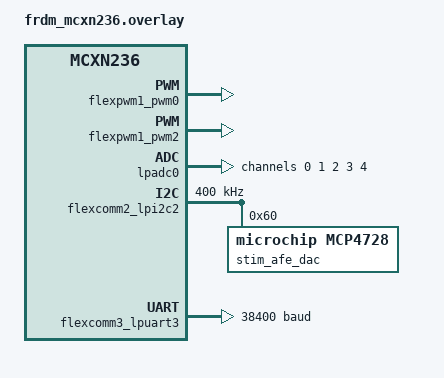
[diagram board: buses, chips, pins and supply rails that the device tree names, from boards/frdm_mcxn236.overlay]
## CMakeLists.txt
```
# SPDX-License-Identifier: Apache-2.0
cmake_minimum_required(VERSION 3.20.0)
find_package(Zephyr REQUIRED HINTS $ENV{ZEPHYR_BASE})
project(hil_stimulus)
target_sources(app PRIVATE src/main.c src/stim_cmds.c)
```

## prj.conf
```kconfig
# SPDX-License-Identifier: Apache-2.0
# apps/hil_stimulus: HIL stimulus firmware, Zephyr v4.4.2, nucleo_f767zi.
# Machine interface = Zephyr shell on the ST-LINK VCP (USART3, 115200 8N1).

# --- shell as a line protocol ---------------------------------------------
CONFIG_SHELL=y
CONFIG_SHELL_BACKEND_SERIAL=y
CONFIG_SHELL_PROMPT_UART="stim:~$ "
CONFIG_SHELL_VT100_COLORS=n
# one "stim rs485 load <slot> <off> <400 hex chars>" line is ~430 bytes
CONFIG_SHELL_CMD_BUFF_SIZE=512
CONFIG_SHELL_ARGC_MAX=24
# a whole max-length line fits the RX ring even if the shell thread is busy
CONFIG_SHELL_BACKEND_SERIAL_RX_RING_BUFFER_SIZE=1024
CONFIG_SHELL_BACKEND_SERIAL_TX_RING_BUFFER_SIZE=256
CONFIG_SHELL_PRINTF_BUFF_SIZE=128
CONFIG_SHELL_STACK_SIZE=4096
# '*' and '?' are never command wildcards here
CONFIG_SHELL_WILDCARD=n
CONFIG_SHELL_HISTORY=n
# keep echo on: metakeys (Ctrl-C clears a partial line, used by the host resync) need it
CONFIG_KERNEL_SHELL=y
CONFIG_DEVICE_SHELL=y
CONFIG_REBOOT=y

# --- logging: warnings only, through the shell log backend -----------------
CONFIG_LOG=y
CONFIG_LOG_DEFAULT_LEVEL=2

# --- C library: picolibc (the errno BUILD_ASSERT in stim_cmds.c pins its numbering) ---
CONFIG_PICOLIBC=y

# --- drivers ---------------------------------------------------------------
CONFIG_GPIO=y
CONFIG_ADC=y
CONFIG_DAC=y
CONFIG_PWM=y
CONFIG_PWM_CAPTURE=y
CONFIG_I2C=y
CONFIG_SERIAL=y
CONFIG_UART_INTERRUPT_DRIVEN=y
CONFIG_UART_USE_RUNTIME_CONFIGURE=y
CONFIG_HWINFO=y
CONFIG_WATCHDOG=y
CONFIG_CRC=y
# gpio-keys (B1/PC13) must not claim EXTI13
CONFIG_INPUT=n

# built-in driver shells for humans only (tests use "stim ...")
CONFIG_GPIO_SHELL=y
CONFIG_DAC_SHELL=y
CONFIG_PWM_SHELL=y
CONFIG_I2C_SHELL=y

# VDDA from VREFINT (st,stm32-vref) to scale DAC codes and ADC readings
CONFIG_SENSOR=y
```

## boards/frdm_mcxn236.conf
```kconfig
# SPDX-License-Identifier: Apache-2.0
# apps/hil_stimulus on FRDM-MCXN236 (merged after prj.conf).
# Machine interface: LP_FLEXCOMM4 LPUART4 (P1_8/P1_9) through the MCU-Link VCOM, 115200 8N1.
# Cycle counter: 64-bit SysTick at 150 MHz (SoC default: MCUX_OS_TIMER=n).

# No VREFINT sensor on MCX: VDDA is taken as 3300 mV (the LPADC reference is VDDA).
CONFIG_SENSOR=n
```

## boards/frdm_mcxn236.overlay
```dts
/*
 * SPDX-License-Identifier: Apache-2.0
 *
 * apps/hil_stimulus on FRDM-MCXN236 (stimulus) for an FRDM-MCXN947 DUT
 * (profile P1, DUT catalog of BACnet e62a095 = main, unchanged at 4ee098e),
 * Zephyr v4.4.2.
 *
 * Wiring: one Arduino-R3 proto shield per board plus a 40-way IDC ribbon.
 * Positions are wired straight (same Arduino position on both boards) except
 * for the reroutes marked REROUTE. Every DUT-facing line has one 2.2 kOhm
 * series resistor, mounted on the DUT shield; the DUT side of it is the probe
 * point (LA, analog node). Analog senses add 10 kOhm at this stimulus input.
 * Header facts: UM12041 Rev 3 Tables 19-22, 25.
 *
 * Never connect on the stimulus shield:
 *   D4  (P0_21) = FXLS8974 INT1          A1 (P4_15) = CAN1 RXD (TJA1057 drives it)
 *   A2  (P4_16) = CAN1 TXD               A3 (P4_17) = blue LED
 *   D5  (P2_7)  = same pin as J3-13 (ao1 capture); the DUT's D5 is ENET MDIO
 *   J3-15 (P3_12) = same pin as D3 (ao2 capture)
 *   J1-3 (P2_0 via SJ3) = same pin as D2; J1-1 (P3_16) = same pin as J3-7
 *   inner-row duplicates of used channels: J1-11 and J3-5 (P3_17 = D6, do2),
 *   J2-9 (P0_22 = D7, do3), J3-1 (P4_13 = A5, di0), J3-11 (P3_14 = D9, do0)
 *   mikroBUS J5-7 (P5V0, 5 V): the MCP4728 takes VDD from J6-7 (VDD_BOARD)
 *   RESET, AREF, IOREF, 3V3; the 5V (J3-10) and VIN (J3-16) stacking pins are
 *   clipped on the shield
 * D10..D13 (P1_3..P1_0) are also wired to the MCU-Link USB-SPI bridge through
 * R153..R156 (populated by default, UM12041 3.9). The bridge's SCK, host data
 * and PCS0 are MCU-Link outputs on m1, m0 and do1, so R153..R156 are removed
 * before the W2 wiring (the stimulus never uses USBSIO; recorded in bench.yml).
 * D3 (P3_12, ao2) is shared with IO3 of the on-board QSPI flash U12 through a
 * zero-ohm selection (UM12041 2.6): W2 checks the low level at P3_12 < 0.8 V
 * with the DUT driving low; otherwise U12 is isolated.
 *
 * Interrupt inputs: GPIO ICR per pin (kinetis-gpio), so unlike the STM32 EXTI
 * there is no line sharing between ports; the protocol rule "ao is never armed"
 * is kept as policy.
 *
 * AFE: MCP4728 (0x60, LDAC to GND) on LP_FLEXCOMM2 LPI2C (P4_0 SDA =
 * mikroBUS J5-6, P4_1 SCL = J5-5, GND J5-8; board pull-ups; FXLS8974 at 0x18
 * shares the bus). VDD = 3.3 V from J6-7 (VDD_BOARD), never J5-7 (P5V0); any
 * module I2C pull-ups go to that 3.3 V or are removed. Internal 2.048 V
 * reference, gain 2: 0..4.096 V full scale, 1.0 mV LSB, output limited to the
 * stimulus VDD (range-mv caps it at 3200).
 *
 * di channels have no drive-high property: they are 0/z only (D40); the
 * firmware refuses level 1 with ERR -1.
 */

#include <zephyr/dt-bindings/adc/adc.h>
#include <zephyr/dt-bindings/adc/mcux-lpadc.h>
#include <zephyr/dt-bindings/gpio/gpio.h>
#include <zephyr/dt-bindings/i2c/i2c.h>
#include <zephyr/dt-bindings/pwm/pwm.h>

/ {
	stim: hil-stim {
		compatible = "hil,stim-channels";
		profile = "P1";
		rs485-uart = <&flexcomm3_lpuart3>;	/* It2 MS/TP injector, camera header J9 */

		/* ---- stimulus -> DUT digital inputs (catalog di*); di1 = SW3/ISP is never wired ---- */
		di0 {
			kind = "di";
			gpios = <&gpio4 13 GPIO_ACTIVE_HIGH>;
			stim-pin = "P4_13 J4-12 A5";
			dut-pin = "P0_23 J4-12 A5 (SW2 + 0.1 uF, pull-up, active low)";
		};
		di2 {
			kind = "di";
			gpios = <&gpio2 0 GPIO_ACTIVE_HIGH>;
			stim-pin = "P2_0 J1-6 D2";
			dut-pin = "P0_29 J1-6 D2 (pull-up, active low)";
		};
		di3 {
			kind = "di";	/* REROUTE: stimulus D4 = accelerometer INT1 */
			gpios = <&gpio4 21 GPIO_ACTIVE_HIGH>;
			stim-pin = "P4_21 J3-3";
			dut-pin = "P0_30 J1-10 D4 (pull-up, active low)";
		};

		/* ---- DUT digital outputs (catalog do*) -> stimulus inputs ---- */
		do0 {
			kind = "do";
			gpios = <&gpio3 14 (GPIO_ACTIVE_HIGH | GPIO_PULL_DOWN)>;
			stim-pin = "P3_14 J2-4 D9";
			dut-pin = "P0_10 J2-4 D9 (red LED, active low)";
		};
		do1 {
			kind = "do";
			gpios = <&gpio1 3 (GPIO_ACTIVE_HIGH | GPIO_PULL_DOWN)>;
			stim-pin = "P1_3 J2-6 D10";
			dut-pin = "P0_27 J2-6 D10 (green LED, active low)";
		};
		do2 {
			kind = "do";
			gpios = <&gpio3 17 (GPIO_ACTIVE_HIGH | GPIO_PULL_DOWN)>;
			stim-pin = "P3_17 J1-14 D6";
			dut-pin = "P1_2 J1-14 D6 (blue LED, active low)";
		};
		do3 {
			kind = "do";
			gpios = <&gpio0 22 (GPIO_ACTIVE_HIGH | GPIO_PULL_DOWN)>;
			stim-pin = "P0_22 J1-16 D7";
			dut-pin = "P0_31 J1-16 D7";
		};
		do4 {
			kind = "do";
			gpios = <&gpio0 23 (GPIO_ACTIVE_HIGH | GPIO_PULL_DOWN)>;
			stim-pin = "P0_23 J2-2 D8";
			dut-pin = "P0_28 J2-2 D8";
		};

		/* ---- DUT analog inputs (catalog ai*, 0..1.8 V): MCP4728 source + LPADC sense ---- */
		ai0 {
			kind = "ai";	/* REROUTE: stimulus A2 = CAN TXD */
			io-channels = <&stim_afe_dac 0>, <&lpadc0 0>;
			io-channel-names = "src", "sense";
			range-mv = <0 3200>;
			stim-pin = "src MCP4728 A, sense P0_26 J2-7 (ADC0_B18)";
			dut-pin = "P0_14 J4-6 A2 (ADC0_B14)";
		};
		ai1 {
			kind = "ai";	/* REROUTE: stimulus A3 = blue LED */
			io-channels = <&stim_afe_dac 1>, <&lpadc0 1>;
			io-channel-names = "src", "sense";
			range-mv = <0 3200>;
			stim-pin = "src MCP4728 B, sense P0_28 J2-3 (ADC0_B20)";
			dut-pin = "P0_22 J4-8 A3 (ADC0_A14)";
		};
		ai2 {
			kind = "ai";
			io-channels = <&stim_afe_dac 2>, <&lpadc0 2>;
			io-channel-names = "src", "sense";
			range-mv = <0 3200>;
			stim-pin = "src MCP4728 C, sense P4_12 J4-10 A4 (ADC0_A5)";
			dut-pin = "P0_15 J4-10 A4 (ADC0_B15)";
		};

		/* ---- DUT PWM outputs (catalog ao*) -> FlexPWM1 input capture ---- */
		ao0 {
			kind = "ao";	/* REROUTE: pigtail J3-15 (DUT) -> J3-7 (stimulus) */
			pwms = <&flexpwm1_pwm2 0 PWM_MSEC(1) PWM_POLARITY_NORMAL>;
			gpios = <&gpio3 16 GPIO_ACTIVE_HIGH>;	/* level read for 0 %/100 % */
			stim-pin = "P3_16 J3-7 (PWM1_A2)";
			dut-pin = "P2_6 J3-15 (PWM1_A0)";
		};
		ao1 {
			kind = "ao";	/* inner row straight: J3-13 -> J3-13 */
			pwms = <&flexpwm1_pwm0 1 PWM_MSEC(1) PWM_POLARITY_NORMAL>;
			gpios = <&gpio2 7 GPIO_ACTIVE_HIGH>;
			stim-pin = "P2_7 J3-13 (PWM1_B0; also D5, never wired)";
			dut-pin = "P2_7 J3-13 (PWM1_B0)";
		};
		ao2 {
			kind = "ao";
			pwms = <&flexpwm1_pwm0 0 PWM_MSEC(1) PWM_POLARITY_NORMAL>;
			gpios = <&gpio3 12 GPIO_ACTIVE_HIGH>;
			stim-pin = "P3_12 J1-8 D3 (PWM1_A0)";
			dut-pin = "P1_23 J1-8 D3 (SCT0_OUT5)";
		};

		/* ---- DUT MS/TP UART (planned: LPUART2 D1/D0, software DE on D11), read only ---- */
		mstp_rx {
			/* transceiver RO -> DUT RX; never driven here. No pull (v2.2 lead):
			 * a stimulus pull-down against the DUT pad pull-up would hold D0
			 * near mid-rail (a permanent break) whenever RO is not driving.
			 */
			kind = "marker";
			gpios = <&gpio4 3 GPIO_ACTIVE_HIGH>;
			stim-pin = "P4_3 J1-2 D0";
			dut-pin = "P4_3 J1-2 D0 (LPUART2 RXD)";
		};
		mstp_tx {
			kind = "marker";
			gpios = <&gpio4 2 (GPIO_ACTIVE_HIGH | GPIO_PULL_DOWN)>;
			stim-pin = "P4_2 J1-4 D1";
			dut-pin = "P4_2 J1-4 D1 (LPUART2 TXD)";
		};
		mstp_de {
			kind = "marker";	/* 10k pull-down on the DE net */
			gpios = <&gpio1 0 (GPIO_ACTIVE_HIGH | GPIO_PULL_DOWN)>;
			stim-pin = "P1_0 J2-8 D11";
			dut-pin = "P0_24 J2-8 D11 (mstp-de-gpios)";
		};

		/* ---- DUT markers (snippet hil: hil-marker-gpios) ---- */
		m0 {
			kind = "marker";
			gpios = <&gpio1 2 (GPIO_ACTIVE_HIGH | GPIO_PULL_DOWN)>;
			stim-pin = "P1_2 J2-10 D12";
			dut-pin = "P0_26 J2-10 D12";
		};
		m1 {
			kind = "marker";
			gpios = <&gpio1 1 (GPIO_ACTIVE_HIGH | GPIO_PULL_DOWN)>;
			stim-pin = "P1_1 J2-12 D13";
			dut-pin = "P0_25 J2-12 D13";
		};
		m2 {
			kind = "marker";
			gpios = <&gpio1 16 (GPIO_ACTIVE_HIGH | GPIO_PULL_DOWN)>;
			stim-pin = "P1_16 J2-18 SDA";
			dut-pin = "P4_0 J2-18 SDA";
		};
		m3 {
			kind = "marker";
			gpios = <&gpio1 17 (GPIO_ACTIVE_HIGH | GPIO_PULL_DOWN)>;
			stim-pin = "P1_17 J2-20 SCL";
			dut-pin = "P4_1 J2-20 SCL";
		};

		/* ---- rig channels (stimulus FRDM inner rows, free pins) ---- */
		nrst {
			kind = "nrst";	/* 1 = BSS138P on = DUT RESET_B low; 100k gate pull-down */
			gpios = <&gpio2 8 GPIO_ACTIVE_HIGH>;
			stim-pin = "P2_8 J1-5";
			dut-pin = "RESET_B J3-6 via 100R + BSS138P (Q2)";
		};
		nrst_sense {
			/*
			 * Gate-sense inverter Q3 (BSS138P on the DUT shield): gate on RESET_B
			 * through 1k, source GND, drain -> ribbon -> 10k pull-up to the
			 * stimulus VDD_BOARD -> this pin. RESET_B low = Q3 off = pin high.
			 * RESET_B sees only the FET gate, so an unpowered stimulus cannot
			 * pull it into the undefined band. No internal pull.
			 */
			kind = "nrst-sense";	/* 1 = DUT in reset (pin high) */
			gpios = <&gpio3 6 GPIO_ACTIVE_HIGH>;
			stim-pin = "P3_6 J1-7 (10k pull-up to VDD_BOARD)";
			dut-pin = "RESET_B J3-6 via 1k + BSS138P gate (Q3)";
		};
		pwr {
			kind = "pwr";	/* logical 1 = DUT powered = P3_18 low (BSS138P off, ON pulled up) */
			gpios = <&gpio3 18 GPIO_ACTIVE_LOW>;
			stim-pin = "P3_18 J1-9";
			dut-pin = "TPS22918 ON via BSS138P Q1 (PWR_CTL) -> DUT J24 P3V3_MCU";
		};
		sync {
			kind = "sync";
			gpios = <&gpio1 7 GPIO_ACTIVE_HIGH>;
			stim-pin = "P1_7 J1-13";
			dut-pin = "LA SYNC channel (100R)";
		};
		lb {
			kind = "marker";	/* self-test loopback: jumper SYNC (J1-13) -> J1-15 */
			gpios = <&gpio2 9 (GPIO_ACTIVE_HIGH | GPIO_PULL_DOWN)>;
			stim-pin = "P2_9 J1-15";
		};
		v3v3 {
			kind = "sense";	/* DUT MCU rail (switched P3V3_MCU = VDD_ANA at AREF) via 100k/100k, 100 nF */
			io-channels = <&lpadc0 3>;
			io-channel-names = "sense";
			scale = <2 1>;
			stim-pin = "P0_29 J2-1 (ADC0_B21)";
			dut-pin = "VDD_ANA J2-16 AREF";
		};
		v3v3_brd {
			kind = "sense";	/* DUT board rail P3V3 (always on) via 100k/100k, 100 nF */
			io-channels = <&lpadc0 4>;
			io-channel-names = "sense";
			scale = <2 1>;
			stim-pin = "P0_27 J2-5 (ADC0_B19)";
			dut-pin = "P3V3 J3-8 3V3";
		};
	};
};

&pinctrl {
	/* FlexPWM1 capture inputs: input buffer on, pull-down so an unpowered DUT reads 0. */
	stim_cap_sm0: stim_cap_sm0 {
		group0 {
			pinmux = <PWM1_A0_PIO3_12>, <PWM1_B0_PIO2_7>;
			input-enable;
			bias-pull-down;
			drive-strength = "low";
			slew-rate = "fast";
		};
	};

	stim_cap_sm2: stim_cap_sm2 {
		group0 {
			pinmux = <PWM1_A2_PIO3_16>;
			input-enable;
			bias-pull-down;
			drive-strength = "low";
			slew-rate = "fast";
		};
	};

	/*
	 * MS/TP injector (It2): LP_FLEXCOMM3 in LPUART-only mode on camera header J9
	 * (UM12041 Table 26): P1_12 J9-28 = FC3_P0 RXD, P1_13 J9-27 = FC3_P1 TXD,
	 * P1_14 J9-2 = FC3_P2 = RTS used as hardware DE (MODIR.TXRTSE, active high).
	 * Transceiver: DE 10k pull-down, /RE to GND (hears its own frames), RO 10k pull-up.
	 */
	stim_fc3_uart: stim_fc3_uart {
		group0 {
			pinmux = <FC3_P0_PIO1_12>, <FC3_P1_PIO1_13>;
			input-enable;
			drive-strength = "low";
			slew-rate = "fast";
		};
	};

	stim_fc3_uart_de: stim_fc3_uart_de {
		group0 {
			pinmux = <FC3_P0_PIO1_12>, <FC3_P1_PIO1_13>, <FC3_P2_PIO1_14>;
			input-enable;
			drive-strength = "low";
			slew-rate = "fast";
		};
	};

	/* LPADC0 senses: ai0 P0_26 B18, ai1 P0_28 B20, ai2 P4_12 A5, v3v3 P0_29 B21, v3v3_brd P0_27 B19 */
	stim_adc0: stim_adc0 {
		group0 {
			pinmux = <ADC0_B18_PIO0_26>, <ADC0_B20_PIO0_28>, <ADC0_A5_PIO4_12>,
				 <ADC0_B21_PIO0_29>, <ADC0_B19_PIO0_27>;
			drive-strength = "low";
			slew-rate = "fast";
		};
	};
};

/* The board DTS enables only gpio0/1/4; D2, D3, D6, D9 and the rig pins are on ports 2/3. */
&gpio2 {
	status = "okay";
};

&gpio3 {
	status = "okay";
};

/*
 * FlexPWM1 (bus clock 150 MHz, prescaler 16 -> 9.375 MHz, 106.7 ns ticks).
 * One capture period fits the 16-bit counter up to 6.99 ms, which keeps the
 * driver's overflow bookkeeping out of the 1 kHz measurement (as TIM4 on F767).
 */
&flexpwm1_pwm0 {
	pinctrl-0 = <&stim_cap_sm0>;
	pinctrl-names = "default";
	nxp,prescaler = <16>;
	status = "okay";
};

&flexpwm1_pwm2 {
	pinctrl-0 = <&stim_cap_sm2>;
	pinctrl-names = "default";
	nxp,prescaler = <16>;
	status = "okay";
};

/*
 * LPADC0: reference VDD_ANA (voltage-ref 2 = CFG[REFSEL] option 3; Zephyr's
 * tests/drivers/regulator/voltage/boards/frdm_mcxn236.overlay uses the same
 * setting "to switch the reference source to VDD_ANA"), highest power level
 * for the 48 MHz FRO_HF ADC clock set by board.c (as NXP's frdmmcxn236 lpadc
 * example), 16-bit, longest sample time (131 ADCK = 2.7 us).
 * The app scales by vdda_mv = 3300 (no VREFINT); measure VDD_ANA once per board.
 */
&lpadc0 {
	pinctrl-0 = <&stim_adc0>;
	pinctrl-names = "default";
	voltage-ref = <2>;
	power-level = <3>;
	#address-cells = <1>;
	#size-cells = <0>;
	status = "okay";

	channel@0 {
		reg = <0>;
		zephyr,gain = "ADC_GAIN_1";
		zephyr,reference = "ADC_REF_EXTERNAL0";
		zephyr,vref-mv = <3300>;
		zephyr,acquisition-time = <ADC_ACQ_TIME(ADC_ACQ_TIME_TICKS, 131)>;
		zephyr,resolution = <16>;
		zephyr,input-positive = <MCUX_LPADC_CH18B>;
	};

	channel@1 {
		reg = <1>;
		zephyr,gain = "ADC_GAIN_1";
		zephyr,reference = "ADC_REF_EXTERNAL0";
		zephyr,vref-mv = <3300>;
		zephyr,acquisition-time = <ADC_ACQ_TIME(ADC_ACQ_TIME_TICKS, 131)>;
		zephyr,resolution = <16>;
		zephyr,input-positive = <MCUX_LPADC_CH20B>;
	};

	channel@2 {
		reg = <2>;
		zephyr,gain = "ADC_GAIN_1";
		zephyr,reference = "ADC_REF_EXTERNAL0";
		zephyr,vref-mv = <3300>;
		zephyr,acquisition-time = <ADC_ACQ_TIME(ADC_ACQ_TIME_TICKS, 131)>;
		zephyr,resolution = <16>;
		zephyr,input-positive = <MCUX_LPADC_CH5A>;
	};

	channel@3 {
		reg = <3>;
		zephyr,gain = "ADC_GAIN_1";
		zephyr,reference = "ADC_REF_EXTERNAL0";
		zephyr,vref-mv = <3300>;
		zephyr,acquisition-time = <ADC_ACQ_TIME(ADC_ACQ_TIME_TICKS, 131)>;
		zephyr,resolution = <16>;
		zephyr,input-positive = <MCUX_LPADC_CH21B>;
	};

	channel@4 {
		reg = <4>;
		zephyr,gain = "ADC_GAIN_1";
		zephyr,reference = "ADC_REF_EXTERNAL0";
		zephyr,vref-mv = <3300>;
		zephyr,acquisition-time = <ADC_ACQ_TIME(ADC_ACQ_TIME_TICKS, 131)>;
		zephyr,resolution = <16>;
		zephyr,input-positive = <MCUX_LPADC_CH19B>;
	};
};

/*
 * AFE bus: LP_FLEXCOMM2 stays okay in LPI2C-only mode (lpuart2 disabled below).
 * 400 kHz keeps "stim safe" (three MCP4728 writes of 0 V) below 1 ms.
 */
&flexcomm2_lpi2c2 {
	clock-frequency = <I2C_BITRATE_FAST>;

	stim_afe_dac: dac@60 {
		compatible = "microchip,mcp4728";
		reg = <0x60>;
		#io-channel-cells = <1>;
		#address-cells = <1>;
		#size-cells = <0>;
		voltage-reference = <1 1 1 1>;	/* internal 2.048 V */
		power-down-mode = <0 0 0 0>;
		gain = <1 1 1 1>;		/* x2 -> 4.096 V full scale */

		channel@0 {
			reg = <0>;
			zephyr,resolution = <12>;
			zephyr,vref-mv = <4096>;
		};

		channel@1 {
			reg = <1>;
			zephyr,resolution = <12>;
			zephyr,vref-mv = <4096>;
		};

		channel@2 {
			reg = <2>;
			zephyr,resolution = <12>;
			zephyr,vref-mv = <4096>;
		};

		channel@3 {
			reg = <3>;	/* spare */
			zephyr,resolution = <12>;
			zephyr,vref-mv = <4096>;
		};
	};
};

/*
 * Board peripherals whose pins the stimulus uses as GPIO, or that it never uses:
 * lpuart2 = D0/D1 (DUT MS/TP lines, read only here), lpspi3 = D10..D13,
 * lpi2c5 and i3c1 = SDA/SCL (m2/m3), flexcan1 = A1/A2, SAI0/SAI1/MICFIL = the
 * rig pins on J1 odd pins (codec DNP), flexio0 (LCD) = P0_21/P0_24/P2_x/P3_x.
 */
&flexcomm2_lpuart2 {
	status = "disabled";
};

&flexcomm3_lpspi3 {
	status = "disabled";
};

/* LP_FLEXCOMM3 runs LPUART-only (lpspi3 disabled); board.c clocks FC3 from FRO_HF_DIV. */
&flexcomm3_lpuart3 {
	pinctrl-0 = <&stim_fc3_uart>;
	pinctrl-1 = <&stim_fc3_uart_de>;
	pinctrl-names = "default", "flowcontrol";
	nxp,rs485-mode;
	current-speed = <38400>;
	status = "okay";
};

&flexcomm5_lpi2c5 {
	status = "disabled";
};

&i3c1 {
	status = "disabled";
};

&flexcan1 {
	status = "disabled";
};

&sai0 {
	status = "disabled";
};

&sai1 {
	status = "disabled";
};

&micfil {
	status = "disabled";
};

&flexio0 {
	status = "disabled";
};
```

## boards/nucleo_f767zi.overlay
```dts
/*
 * SPDX-License-Identifier: Apache-2.0
 *
 * apps/hil_stimulus on NUCLEO-F767ZI (MB1137), Zephyr v4.4.2.
 *
 * The stimulus is powered from its own ST-LINK USB (JP3 = U5V, default) and is
 * the always-on board. Every DUT-facing line has 1 kOhm in series at the
 * stimulus end. Pins avoided on the stimulus: RMII (PA1 PA2 PA7 PB13 PC1 PC4
 * PC5 PG11 PG13), VCP (PD8 PD9), USB OTG FS (PA8..PA12, PG6 PG7), SWD/SWO
 * (PA13 PA14 PB3), clocks (PH0 PH1 PC14 PC15), B1 (PC13), PE2 (on two Zio pins).
 *
 * EXTI lines used by interrupt inputs (one per pin number, all ports share a
 * line): 0 m0/PG0, 1 m1/PG1, 2 m2/PG2, 3 m3/PG3, 7 do0/PE7, 8 do1/PE8,
 * 10 do2/PE10, 11 lb/PB11, 12 do4/PF12, 13 do3/PF13, 15 nrst_sense/PE15.
 * Free: 4 5 6 9 14. The ao pins (PA0, PA15, PD12) share lines 0, 15 and 12 with
 * m0, nrst_sense and do4, so ao is never armed on EXTI (din/pwmcap only) and
 * lines_safe() never reconfigures it (TIM AF + pull-down from pinctrl stay).
 */

#include <zephyr/dt-bindings/adc/adc.h>
#include <zephyr/dt-bindings/gpio/gpio.h>
#include <zephyr/dt-bindings/pwm/pwm.h>

/ {
	/* B1 on PC13 would claim EXTI13 (needed by do3 = PF13) if CONFIG_INPUT=y */
	gpio_keys {
		status = "disabled";
	};

	stim: hil-stim {
		compatible = "hil,stim-channels";
		profile = "P1";
		rs485-uart = <&usart2>;

		/* ---- stimulus -> DUT digital inputs (catalog di*) ---- */
		di0 {
			kind = "di";
			gpios = <&gpioe 14 GPIO_ACTIVE_HIGH>;
			drive-high;	/* B1 is active high (220k pull-down): 1 must be driven */
			stim-pin = "PE14 CN10-28";
			dut-pin = "PC13 CN11-23 (B1, 220k pull-down)";
		};
		di1 {
			kind = "di";
			gpios = <&gpiof 15 GPIO_ACTIVE_HIGH>;
			stim-pin = "PF15 CN10-12 D2";
			dut-pin = "PF15 CN10-12 D2 (pull-up, active low)";
		};
		di2 {
			kind = "di";
			gpios = <&gpiof 14 GPIO_ACTIVE_HIGH>;
			stim-pin = "PF14 CN10-8 D4";
			dut-pin = "PF14 CN10-8 D4 (pull-up, active low)";
		};

		/* ---- DUT digital outputs (catalog do*) -> stimulus inputs ---- */
		do0 {
			kind = "do";
			gpios = <&gpioe 7 (GPIO_ACTIVE_HIGH | GPIO_PULL_DOWN)>;
			stim-pin = "PE7 CN10-20";
			dut-pin = "PB0 CN10-31 (LD1)";
		};
		do1 {
			kind = "do";
			gpios = <&gpioe 8 (GPIO_ACTIVE_HIGH | GPIO_PULL_DOWN)>;
			stim-pin = "PE8 CN10-18";
			dut-pin = "PB7 CN11-21 (LD2)";
		};
		do2 {
			kind = "do";
			gpios = <&gpioe 10 (GPIO_ACTIVE_HIGH | GPIO_PULL_DOWN)>;
			stim-pin = "PE10 CN10-24";
			dut-pin = "PB14 CN12-28 (LD3)";
		};
		do3 {
			kind = "do";
			gpios = <&gpiof 13 (GPIO_ACTIVE_HIGH | GPIO_PULL_DOWN)>;
			stim-pin = "PF13 CN10-2 D7";
			dut-pin = "PF13 CN10-2 D7";
		};
		do4 {
			kind = "do";
			gpios = <&gpiof 12 (GPIO_ACTIVE_HIGH | GPIO_PULL_DOWN)>;
			stim-pin = "PF12 CN7-20 D8";
			dut-pin = "PF12 CN7-20 D8";
		};

		/* ---- DUT analog inputs (catalog ai*): source + sense on the node ---- */
		ai0 {
			kind = "ai";
			io-channels = <&dac1 1>, <&adc1 3>;
			io-channel-names = "src", "sense";
			range-mv = <200 3100>;
			stim-pin = "src PA4 CN7-17, sense PA3 CN9-1 A0";
			dut-pin = "PA3 CN9-1 A0 (ADC1_IN3)";
		};
		ai1 {
			kind = "ai";	/* It1: 10k/10k from DUT 3V3; It2: MCP4728 ch A */
			io-channels = <&adc1 10>;
			io-channel-names = "sense";
			stim-pin = "sense PC0 CN9-3 A1";
			dut-pin = "PC0 CN9-3 A1 (ADC1_IN10)";
		};
		ai2 {
			kind = "ai";	/* It1: 20k/10k from DUT 3V3; It2: MCP4728 ch B */
			io-channels = <&adc1 13>;
			io-channel-names = "sense";
			stim-pin = "sense PC3 CN9-5 A2";
			dut-pin = "PC3 CN9-5 A2 (ADC1_IN13)";
		};
		ai3 {
			kind = "ai";
			io-channels = <&dac1 2>, <&adc3 9>;
			io-channel-names = "src", "sense";
			range-mv = <200 3100>;
			stim-pin = "src PA5 CN7-10 D13, sense PF3 CN9-7 A3";
			dut-pin = "PF3 CN9-7 A3 (ADC3_IN9)";
		};
		ai4 {
			kind = "ai";	/* It1: 10k/20k from DUT 3V3; It2: MCP4728 ch C */
			io-channels = <&adc3 15>;
			io-channel-names = "sense";
			stim-pin = "sense PF5 CN9-9 A4";
			dut-pin = "PF5 CN9-9 A4 (ADC3_IN15)";
		};
		ai5 {
			kind = "ai";	/* It1: 33k/10k from DUT 3V3; It2: MCP4728 ch D */
			io-channels = <&adc3 8>;
			io-channel-names = "sense";
			stim-pin = "sense PF10 CN9-11 A5";
			dut-pin = "PF10 CN9-11 A5 (ADC3_IN8)";
		};

		/* ---- DUT PWM outputs (catalog ao*) -> timer capture ---- */
		ao0 {
			kind = "ao";
			pwms = <&stim_cap5 1 PWM_MSEC(1) PWM_POLARITY_NORMAL>;
			gpios = <&gpioa 0 GPIO_ACTIVE_HIGH>;	/* level read for 0 %/100 % */
			stim-pin = "PA0 CN10-29 D32 via SB179 (TIM5_CH1, 32 bit)";
			dut-pin = "PE9 CN10-4 D6 (TIM1_CH1)";
		};
		ao1 {
			kind = "ao";
			pwms = <&stim_cap2 1 PWM_MSEC(1) PWM_POLARITY_NORMAL>;
			gpios = <&gpioa 15 GPIO_ACTIVE_HIGH>;
			stim-pin = "PA15 CN7-9 (TIM2_CH1, 32 bit)";
			dut-pin = "PE11 CN10-6 D5 (TIM1_CH2)";
		};
		ao2 {
			kind = "ao";
			pwms = <&stim_cap4 1 PWM_MSEC(1) PWM_POLARITY_NORMAL>;
			gpios = <&gpiod 12 GPIO_ACTIVE_HIGH>;
			stim-pin = "PD12 CN10-21 D29 (TIM4_CH1, 16 bit)";
			dut-pin = "PE13 CN10-10 D3 (TIM1_CH3)";
		};

		/* ---- rig channels ---- */
		nrst {
			kind = "nrst";	/* 1 = FET on = DUT NRST low; 100k gate pull-down */
			gpios = <&gpioe 4 GPIO_ACTIVE_HIGH>;
			stim-pin = "PE4 CN9-16";
			dut-pin = "NRST CN11-14 / CN8-5";
		};
		nrst_sense {
			kind = "nrst-sense";	/* 1 = DUT NRST low; NO internal pull (10k series) */
			gpios = <&gpioe 15 GPIO_ACTIVE_LOW>;
			stim-pin = "PE15 CN10-30";
			dut-pin = "NRST CN11-14 via 10k";
		};
		pwr {
			kind = "pwr";	/* logical 1 = DUT powered = PE5 low (inverter FET off) */
			gpios = <&gpioe 5 GPIO_ACTIVE_LOW>;
			stim-pin = "PE5 CN9-18";
			dut-pin = "load switch ON (via BSS138 inverter) -> DUT E5V CN11-6";
		};
		sync {
			kind = "sync";
			gpios = <&gpioe 6 GPIO_ACTIVE_HIGH>;
			stim-pin = "PE6 CN9-20";
			dut-pin = "LA SYNC channel (100R)";
		};
		m0 {
			kind = "marker";
			gpios = <&gpiog 0 (GPIO_ACTIVE_HIGH | GPIO_PULL_DOWN)>;
			stim-pin = "PG0 CN9-29";
		};
		m1 {
			kind = "marker";
			gpios = <&gpiog 1 (GPIO_ACTIVE_HIGH | GPIO_PULL_DOWN)>;
			stim-pin = "PG1 CN9-30";
		};
		m2 {
			kind = "marker";
			gpios = <&gpiog 2 (GPIO_ACTIVE_HIGH | GPIO_PULL_DOWN)>;
			stim-pin = "PG2 CN8-14";
		};
		m3 {
			kind = "marker";
			gpios = <&gpiog 3 (GPIO_ACTIVE_HIGH | GPIO_PULL_DOWN)>;
			stim-pin = "PG3 CN8-16";
		};
		lb {
			kind = "marker";	/* self-test loopback: jumper SYNC (PE6) -> PB11 */
			gpios = <&gpiob 11 (GPIO_ACTIVE_HIGH | GPIO_PULL_DOWN)>;
			stim-pin = "PB11 CN10-34 (EXTI11)";
		};
		v3v3 {
			kind = "sense";	/* DUT 3V3 (CN8-7) via 100k/100k, 100 nF at PB1 */
			io-channels = <&adc1 9>;
			io-channel-names = "sense";
			scale = <2 1>;
			stim-pin = "PB1 CN10-7 A6";
		};
		v5 {
			kind = "sense";	/* DUT E5V (switch output) via 100k/100k, 100 nF at PF4 */
			io-channels = <&adc3 14>;
			io-channel-names = "sense";
			scale = <2 1>;
			stim-pin = "PF4 CN10-11 A8";
		};
	};
};

/* Board peripherals the stimulus does not use (frees PA5..PA7, PD14, PD0/PD1, PG9/PG14, PE13) */
&spi1 {
	status = "disabled";
};

&can1 {
	status = "disabled";
};

&usart6 {
	status = "disabled";
};

&timers1 {
	status = "disabled";
};

&mac {
	status = "disabled";
};

&mdio {
	status = "disabled";
};

/* DAC1: OUT1 PA4 -> DUT ai0, OUT2 PA5 -> DUT ai3 (both 1k + 100 nF at the DUT pin) */
&dac1 {
	pinctrl-0 = <&dac_out1_pa4 &dac_out2_pa5>;
	pinctrl-names = "default";
	#address-cells = <1>;
	#size-cells = <0>;
	status = "okay";

	channel@1 {
		reg = <1>;
		zephyr,resolution = <12>;
		zephyr,buffered;
		zephyr,vref-mv = <3300>;
	};

	channel@2 {
		reg = <2>;
		zephyr,resolution = <12>;
		zephyr,buffered;
		zephyr,vref-mv = <3300>;
	};
};

/*
 * ADC1/ADC3 sense inputs. The F7 ADC prescaler is common to all ADCs: PCLK2
 * 108 MHz / 4 = 27 MHz (<= 36 MHz). 480 cycles = 17.8 us sampling, enough for
 * the 50 kOhm dividers (RAIN max 50 kOhm) with 100 nF at the pin.
 */
&adc1 {
	pinctrl-0 = <&adc1_in3_pa3 &adc1_in10_pc0 &adc1_in13_pc3 &adc1_in9_pb1>;
	pinctrl-names = "default";
	st,adc-clock-source = "SYNC";
	st,adc-prescaler = <4>;
	#address-cells = <1>;
	#size-cells = <0>;
	status = "okay";

	channel@3 {
		reg = <3>;
		zephyr,gain = "ADC_GAIN_1";
		zephyr,reference = "ADC_REF_INTERNAL";
		zephyr,acquisition-time = <ADC_ACQ_TIME(ADC_ACQ_TIME_TICKS, 480)>;
		zephyr,resolution = <12>;
		zephyr,vref-mv = <3300>;
	};

	channel@9 {
		reg = <9>;
		zephyr,gain = "ADC_GAIN_1";
		zephyr,reference = "ADC_REF_INTERNAL";
		zephyr,acquisition-time = <ADC_ACQ_TIME(ADC_ACQ_TIME_TICKS, 480)>;
		zephyr,resolution = <12>;
		zephyr,vref-mv = <3300>;
	};

	channel@a {
		reg = <10>;
		zephyr,gain = "ADC_GAIN_1";
		zephyr,reference = "ADC_REF_INTERNAL";
		zephyr,acquisition-time = <ADC_ACQ_TIME(ADC_ACQ_TIME_TICKS, 480)>;
		zephyr,resolution = <12>;
		zephyr,vref-mv = <3300>;
	};

	channel@d {
		reg = <13>;
		zephyr,gain = "ADC_GAIN_1";
		zephyr,reference = "ADC_REF_INTERNAL";
		zephyr,acquisition-time = <ADC_ACQ_TIME(ADC_ACQ_TIME_TICKS, 480)>;
		zephyr,resolution = <12>;
		zephyr,vref-mv = <3300>;
	};
};

&adc3 {
	pinctrl-0 = <&adc3_in9_pf3 &adc3_in15_pf5 &adc3_in8_pf10 &adc3_in14_pf4>;
	pinctrl-names = "default";
	st,adc-clock-source = "SYNC";
	st,adc-prescaler = <4>;
	#address-cells = <1>;
	#size-cells = <0>;
	status = "okay";

	channel@8 {
		reg = <8>;
		zephyr,gain = "ADC_GAIN_1";
		zephyr,reference = "ADC_REF_INTERNAL";
		zephyr,acquisition-time = <ADC_ACQ_TIME(ADC_ACQ_TIME_TICKS, 480)>;
		zephyr,resolution = <12>;
		zephyr,vref-mv = <3300>;
	};

	channel@9 {
		reg = <9>;
		zephyr,gain = "ADC_GAIN_1";
		zephyr,reference = "ADC_REF_INTERNAL";
		zephyr,acquisition-time = <ADC_ACQ_TIME(ADC_ACQ_TIME_TICKS, 480)>;
		zephyr,resolution = <12>;
		zephyr,vref-mv = <3300>;
	};

	channel@e {
		reg = <14>;
		zephyr,gain = "ADC_GAIN_1";
		zephyr,reference = "ADC_REF_INTERNAL";
		zephyr,acquisition-time = <ADC_ACQ_TIME(ADC_ACQ_TIME_TICKS, 480)>;
		zephyr,resolution = <12>;
		zephyr,vref-mv = <3300>;
	};

	channel@f {
		reg = <15>;
		zephyr,gain = "ADC_GAIN_1";
		zephyr,reference = "ADC_REF_INTERNAL";
		zephyr,acquisition-time = <ADC_ACQ_TIME(ADC_ACQ_TIME_TICKS, 480)>;
		zephyr,resolution = <12>;
		zephyr,vref-mv = <3300>;
	};
};

/*
 * PWM capture of the DUT AOs (two-channel mode: CH1 + CH2 of each timer,
 * slave-mode reset). APB1 timer clock = 2 x 54 MHz = 108 MHz.
 *   TIM5/TIM2 (32 bit): prescaler 0 -> 9.26 ns ticks, max period 39.7 s.
 *   TIM4 (16 bit): prescaler 10 -> 9.818 MHz, 101.9 ns ticks, max period 6.67 ms.
 */
&timers5 {
	st,prescaler = <0>;
	status = "okay";

	stim_cap5: pwm {
		pinctrl-0 = <&tim5_ch1_pa0>;
		pinctrl-names = "default";
		status = "okay";
	};
};

&timers2 {
	st,prescaler = <0>;
	status = "okay";

	stim_cap2: pwm {
		pinctrl-0 = <&tim2_ch1_pa15>;
		pinctrl-names = "default";
		status = "okay";
	};
};

&timers4 {
	st,prescaler = <10>;
	status = "okay";

	stim_cap4: pwm {
		pinctrl-0 = <&tim4_ch1_pd12>;
		pinctrl-names = "default";
		status = "okay";
	};
};

/* capture inputs read 0 when the DUT is unpowered instead of floating */
&tim5_ch1_pa0 {
	bias-pull-down;
};

&tim2_ch1_pa15 {
	bias-pull-down;
};

&tim4_ch1_pd12 {
	bias-pull-down;
};

/*
 * MS/TP injector (It2): USART2 PD5 TX / PD6 RX / PD4 DE (hardware DE, AF7).
 * Transceiver: DE 10k pull-down, /RE to GND (hears its own frames), RO 10k
 * pull-up. DE assert/deassert = 8/16 bit.
 */
&usart2 {
	pinctrl-0 = <&usart2_tx_pd5 &usart2_rx_pd6 &usart2_de_pd4>;
	pinctrl-names = "default";
	current-speed = <38400>;
	de-enable;
	de-assert-time = <8>;
	de-deassert-time = <8>;
	status = "okay";
};

/* I2C1 (PB8 SCL CN7-2, PB9 SDA CN7-4) stays enabled by the board DTS for It2:
 * MCP4728 @0x60 (VDD = 3V3, LDAC = GND), ADS1115 @0x48/0x49, INA226 @0x40.
 */
```

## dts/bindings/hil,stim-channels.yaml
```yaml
# SPDX-License-Identifier: Apache-2.0
description: |
  HIL stimulus channel map (apps/hil_stimulus).

  Each child node is one stim-protocol channel. The node name IS the protocol
  channel name (baseline B5): the DUT catalog channel it is wired to (di1, do3,
  ai0, ao0) or a rig channel (nrst, nrst_sense, pwr, sync, m0..m3, v3v3, v5).
  The protocol and the host code only ever see names; this node maps names to
  stimulus pins, so the same host code drives any stimulus board.

compatible: "hil,stim-channels"

include: base.yaml

properties:
  profile:
    type: string
    required: true
    description: |
      DUT profile (P1, P2, ...) this channel map is wired for. "stim info"
      reports it as profile=, and the host checks it against bench.yml (D22).
  rs485-uart:
    type: phandle
    description: UART with hardware DE used as the MS/TP injector (It2).

child-binding:
  description: One stimulus channel.
  properties:
    kind:
      type: string
      required: true
      enum:
        - "di"          # stimulus drives a DUT digital input (0/z; 1 only with drive-high)
        - "do"          # stimulus reads a DUT digital output (EXTI timestamps)
        - "ai"          # stimulus sources ("src") and/or senses ("sense") a DUT analog input
        - "ao"          # stimulus captures a DUT PWM output (pwms) and reads its level (gpios)
        - "nrst"        # 2N7002/BSS138 gate driving DUT NRST (1 = reset asserted)
        - "nrst-sense"  # DUT NRST read back (1 = DUT in reset): F767 through 10 kOhm, P1 through a BSS138 gate-sense inverter; no internal pull
        - "pwr"         # inverter gate driving the load-switch ON pin (1 = DUT powered)
        - "sync"        # SYNC output to the logic analyzer
        - "marker"      # DUT marker/trace output read by the stimulus (EXTI timestamps)
        - "sense"       # analog rig sense (DUT 3V3, DUT 5V) through a divider
    gpios:
      type: phandle-array
    io-channels:
      type: phandle-array
    io-channel-names:
      type: string-array
      description: '"src" = DAC/MCP4728 output, "sense" = ADC input on the same node.'
    pwms:
      type: phandle-array
    range-mv:
      type: array
      description: Usable source range [min, max] in mV (buffered STM32 DAC 200..VDDA-200).
    scale:
      type: array
      default: [1, 1]
      description: Sense divider [num, den]; reported mV = pin mV * num / den.
    stim-pin:
      type: string
      description: Stimulus pin and connector position (informational).
    dut-pin:
      type: string
      description: DUT pin and connector position (informational).
    drive-high:
      type: boolean
      description: |
        di only: level 1 drives the line push-pull high (needed for an
        active-high DUT input such as the F767 B1 on PC13). Without it a di
        channel is 0/z only and level 1 is refused with ERR -1 (HIL.md D40).
```

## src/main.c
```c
/*
 * SPDX-License-Identifier: Apache-2.0
 *
 * HIL stimulus firmware (apps/hil_stimulus), Zephyr v4.4.2.
 * Everything happens in the shell ("stim" group). main() prints the banner,
 * feeds the IWDG and blinks LD1. If a command overruns its own deadline, the
 * watchdog is starved and the stimulus resets into the hardware fail-safe
 * state (all DUT-facing pins Hi-Z, NRST released, DUT powered).
 */
#include <zephyr/kernel.h>
#include <zephyr/drivers/gpio.h>
#include <zephyr/drivers/hwinfo.h>
#include <zephyr/drivers/watchdog.h>
#include <zephyr/shell/shell.h>
#include <zephyr/shell/shell_uart.h>

#include "stim.h"

#define WDT_NODE DT_ALIAS(watchdog0)
#define WDT_TIMEOUT_MS 4000

static const struct gpio_dt_spec led_hb = GPIO_DT_SPEC_GET_OR(DT_ALIAS(led0), gpios, {0});

int main(void)
{
	const struct shell *sh = shell_backend_uart_get_ptr();
	uint32_t cause = 0;
	int rc = stim_init();
	int wdt_ch = -1;
	const struct device *wdt = DEVICE_DT_GET_OR_NULL(WDT_NODE);

	(void)hwinfo_get_reset_cause(&cause);
	(void)hwinfo_clear_reset_cause();

	if (wdt != NULL && device_is_ready(wdt)) {
		struct wdt_timeout_cfg cfg = {
			.window = {.min = 0, .max = WDT_TIMEOUT_MS},
			.flags = WDT_FLAG_RESET_SOC,
		};

		wdt_ch = wdt_install_timeout(wdt, &cfg);
		if (wdt_ch >= 0 && wdt_setup(wdt, WDT_OPT_PAUSE_HALTED_BY_DBG) != 0) {
			wdt_ch = -1;
		}
	}

	if (led_hb.port != NULL) {
		(void)gpio_pin_configure_dt(&led_hb, GPIO_OUTPUT_INACTIVE);
	}

	while (!shell_ready(sh)) {
		k_msleep(10);
	}
	/* Host waits for this line (or the prompt) after every stimulus reset. */
	shell_print(sh, "STIM READY proto=%d fw=%s board=%s rc=0x%08x init=%d", STIM_PROTO,
		    STIM_FW_VERSION, CONFIG_BOARD_TARGET, cause, rc);

	for (;;) {
		if (wdt_ch >= 0 && !stim_cmd_overrun()) {
			(void)wdt_feed(wdt, wdt_ch);
		}
		if (led_hb.port != NULL) {
			(void)gpio_pin_toggle_dt(&led_hb);
		}
		k_msleep(250);
	}
	return 0;
}
```

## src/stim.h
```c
/* SPDX-License-Identifier: Apache-2.0 */
#ifndef HIL_STIM_H_
#define HIL_STIM_H_

#include <stdbool.h>

#define STIM_PROTO      0
#define STIM_FW_VERSION "0.2.0"

int stim_init(void);
/* true while a command runs past its own deadline (main then starves the IWDG) */
bool stim_cmd_overrun(void);

#endif
```
